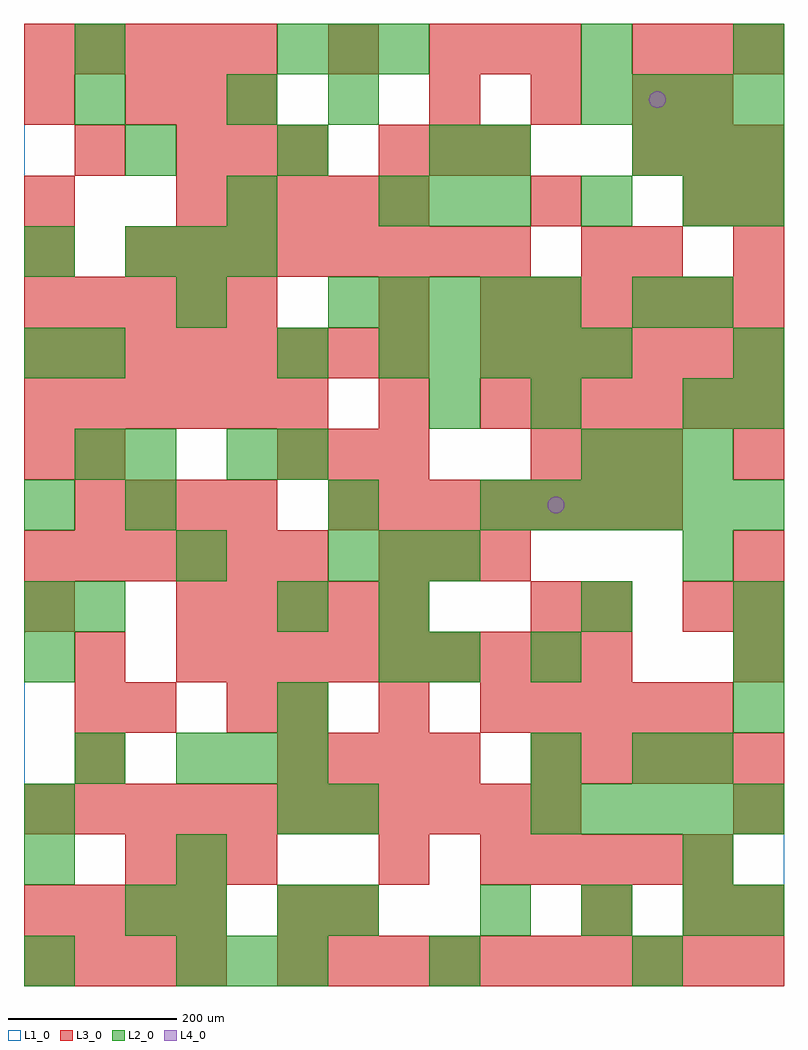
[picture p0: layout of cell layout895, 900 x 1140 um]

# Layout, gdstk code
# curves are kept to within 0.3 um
import gdstk
lib = gdstk.Library(unit=1e-6, precision=1e-09)
def R(c, l, rs):  # rectangles x0, y0, x1, y1
    for r in rs: c.add(gdstk.rectangle(r[:2], r[2:], *l))
def A(c, l, x, y, w, h, nx, ny, dx, dy):  # array of equal rectangles
    R(c, l, [(x+i*dx, y+j*dy, x+i*dx+w, y+j*dy+h) for i in range(nx) for j in range(ny)])
def P(c, l, *ps):  # polygons
    for p in ps: c.add(gdstk.Polygon(p, *l))
L1_0 = (1, 0)
L2_0 = (2, 0)
L3_0 = (3, 0)
L4_0 = (4, 0)

layout895 = lib.new_cell('layout895')
R(layout895, L1_0, [(0,0,900,1140)])
A(layout895, L2_0, 180, 0, 60, 60, 3, 2, 60, 240)
A(layout895, L2_0, 300, 60, 60, 60, 1, 4, 0, 120)
A(layout895, L2_0, 540, 60, 60, 60, 3, 1, 120, 0)
A(layout895, L2_0, 600, 180, 60, 60, 5, 1, 60, 0)
A(layout895, L2_0, 60, 240, 60, 60, 1, 3, 0, 180)
A(layout895, L2_0, 840, 300, 60, 60, 1, 3, 0, 60)
A(layout895, L2_0, 360, 480, 60, 60, 3, 1, 60, 0)
A(layout895, L2_0, 540, 540, 60, 60, 6, 1, 60, 0)
A(layout895, L2_0, 660, 600, 60, 60, 3, 1, 60, 0)
A(layout895, L2_0, 780, 660, 60, 60, 1, 3, 0, 120)
A(layout895, L2_0, 420, 720, 60, 60, 5, 1, 60, 0)
A(layout895, L2_0, 840, 720, 60, 60, 1, 3, 0, 180)
A(layout895, L2_0, 360, 780, 60, 60, 5, 1, 60, 0)
A(layout895, L2_0, 120, 840, 60, 60, 3, 1, 60, 0)
A(layout895, L2_0, 420, 900, 60, 60, 3, 1, 60, 0)
A(layout895, L2_0, 120, 960, 60, 60, 3, 1, 180, 0)
A(layout895, L2_0, 720, 960, 60, 60, 3, 1, 60, 0)
A(layout895, L2_0, 660, 1020, 60, 60, 4, 1, 60, 0)
A(layout895, L2_0, 300, 1080, 60, 60, 3, 1, 60, 0)
R(layout895, L2_0, [(0,0,60,60), (480,0,540,60), (720,0,780,60), (120,60,180,120), (180,60,240,120), (360,60,420,120), (840,60,900,120), (0,120,60,180), (180,120,240,180), (780,120,840,180), (0,180,60,240), (360,180,420,240), (600,240,660,300), (720,240,780,300), (780,240,840,300), (0,360,60,420), (420,360,480,420), (480,360,540,420), (600,360,660,420), (0,420,60,480), (420,420,480,480), (660,420,720,480), (180,480,240,540), (780,480,840,540), (0,540,60,600), (120,540,180,600), (360,540,420,600), (120,600,180,660), (240,600,300,660), (300,600,360,660), (480,660,540,720), (600,660,660,720), (840,660,900,720), (0,720,60,780), (60,720,120,780), (300,720,360,780), (180,780,240,840), (720,780,780,840), (0,840,60,900), (240,900,300,960), (660,900,720,960), (540,960,600,1020), (60,1020,120,1080), (240,1020,300,1080), (360,1020,420,1080), (60,1080,120,1140), (660,1080,720,1140)])
A(layout895, L3_0, 0, 0, 60, 60, 4, 2, 60, 60)
A(layout895, L3_0, 300, 0, 60, 60, 10, 1, 60, 0)
A(layout895, L3_0, 120, 120, 60, 60, 3, 2, 60, 900)
A(layout895, L3_0, 540, 120, 60, 60, 5, 1, 60, 0)
A(layout895, L3_0, 0, 180, 60, 60, 11, 1, 60, 0)
A(layout895, L3_0, 60, 240, 60, 60, 1, 3, 0, 60)
A(layout895, L3_0, 300, 240, 60, 60, 4, 1, 60, 0)
A(layout895, L3_0, 600, 240, 60, 60, 5, 1, 60, 0)
A(layout895, L3_0, 300, 300, 60, 60, 3, 1, 120, 0)
A(layout895, L3_0, 600, 300, 60, 60, 4, 1, 60, 0)
A(layout895, L3_0, 180, 360, 60, 60, 9, 1, 60, 0)
A(layout895, L3_0, 840, 360, 60, 60, 1, 3, 0, 60)
A(layout895, L3_0, 180, 420, 60, 60, 5, 2, 60, 480)
A(layout895, L3_0, 0, 480, 60, 60, 6, 2, 60, 180)
A(layout895, L3_0, 420, 480, 60, 60, 3, 2, 60, 480)
A(layout895, L3_0, 60, 540, 60, 60, 4, 1, 60, 0)
A(layout895, L3_0, 360, 540, 60, 60, 7, 1, 60, 0)
A(layout895, L3_0, 300, 600, 60, 60, 3, 1, 60, 0)
A(layout895, L3_0, 600, 600, 60, 60, 3, 1, 60, 0)
A(layout895, L3_0, 540, 660, 60, 60, 6, 3, 60, 60)
A(layout895, L3_0, 0, 720, 60, 60, 8, 1, 60, 0)
A(layout895, L3_0, 0, 780, 60, 60, 5, 2, 60, 300)
A(layout895, L3_0, 120, 840, 60, 60, 8, 1, 60, 0)
A(layout895, L3_0, 180, 960, 60, 60, 3, 1, 60, 0)
A(layout895, L3_0, 720, 960, 60, 60, 3, 2, 60, 120)
A(layout895, L3_0, 480, 1020, 60, 60, 3, 1, 120, 0)
A(layout895, L3_0, 480, 1080, 60, 60, 3, 1, 60, 0)
R(layout895, L3_0, [(300,60,360,120), (360,60,420,120), (660,60,720,120), (780,60,840,120), (840,60,900,120), (420,120,480,180), (840,180,900,240), (120,300,180,360), (240,300,300,360), (0,420,60,480), (600,420,660,480), (660,420,720,480), (780,420,840,480), (0,600,60,660), (60,600,120,660), (840,600,900,660), (420,660,480,720), (420,780,480,840), (0,840,60,900), (660,840,720,900), (720,840,780,900), (840,840,900,900), (0,900,60,960), (600,900,660,960), (780,900,840,960), (840,900,900,960), (60,960,120,1020), (0,1020,60,1080), (780,1020,840,1080), (360,1080,420,1140)])
P(layout895, L4_0, [(640,570),(639.239,573.827),(637.071,577.071),(633.827,579.239),(630,580),(626.173,579.239),(622.929,577.071),(620.761,573.827),(620,570),(620.761,566.173),(622.929,562.929),(626.173,560.761),(630,560),(633.827,560.761),(637.071,562.929),(639.239,566.173)],
  [(760,1050),(759.239,1053.827),(757.071,1057.071),(753.827,1059.239),(750,1060),(746.173,1059.239),(742.929,1057.071),(740.761,1053.827),(740,1050),(740.761,1046.173),(742.929,1042.929),(746.173,1040.761),(750,1040),(753.827,1040.761),(757.071,1042.929),(759.239,1046.173)])

lib.write_gds('layout895.gds')
